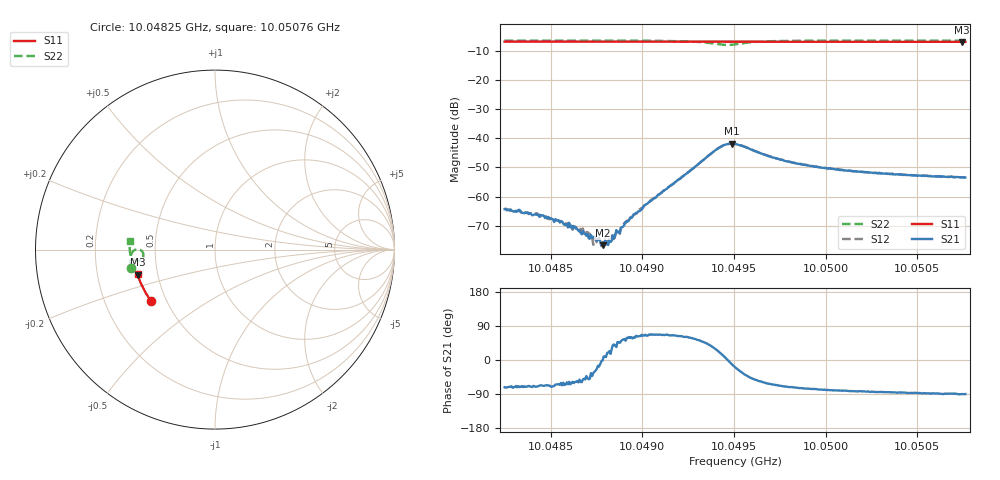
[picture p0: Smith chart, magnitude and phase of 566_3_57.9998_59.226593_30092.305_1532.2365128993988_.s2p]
#  HZ  S  RI  R  50.00
! Rohde & Schwarz Vector Network Analyzer
! Rohde-Schwarz,ZNB20-2Port,1311601062101988,3.16
! Created: UTC 3/21/2024, 1:15:43 AM
! freq[Hz]  re:S11  im:S11  re:S21  im:S21  re:S12  im:S12  re:S22  im:S22
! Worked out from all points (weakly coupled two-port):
!   401 points, 10.04825 GHz to 10.05076 GHz, reference 50 ohm
!   highest |S21| = -41.83 dB at 10.04949 GHz (marker M1); lowest = -76.7 dB at 10.04878 GHz (marker M2)
!   lowest |S11| = -6.9 dB at 10.05074 GHz (marker M3), VSWR 2.65, Z = 19.3 - j6.77 ohm
!   |S11| at or under -10 dB: nowhere
!   |S22| runs from -8.0 to -6.4 dB; largest |S21 - S12| = 0.00059
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1.0048249e10  -0.3569 -0.2848  0.000189 -0.000578  0.000237 -0.000577  -0.4664 -0.1026
1.0048425e10  -0.3638 -0.2755  0.000164 -0.000458  0.000229 -0.000468  -0.4683 -0.09
1.0048456e10  -0.365 -0.2737  0.000183 -0.000442  0.000189 -0.000398  -0.4687 -0.0877
1.0048588e10  -0.3699 -0.2666  0.000173 -0.000288  0.000178 -0.000299  -0.4699 -0.0778
1.004867e10  -0.3728 -0.2621  0.000118 -0.000192  0.000147 -0.000185  -0.4705 -0.0716
1.0048701e10  -0.3739 -0.2604  0.000154 -0.00017  0.0002 -0.000143  -0.4707 -0.0692
1.004872e10  -0.3748 -0.2593  0.00018 -0.000124  0.000158 -0.000104  -0.4707 -0.0677
1.0048764e10  -0.3763 -0.2569  0.000188 -5.8e-05  0.00016 -2e-05  -0.4709 -0.0641
1.0048783e10  -0.3769 -0.2557  0.000146 -3.66e-06  0.000165 2.34e-05  -0.4711 -0.0627
1.0048821e10  -0.3781 -0.2537  0.000169 7.25e-05  0.000176 6.59e-05  -0.4711 -0.0594
1.004884e10  -0.3788 -0.2527  0.000168 0.000138  0.000173 0.000111  -0.4711 -0.0577
1.0048896e10  -0.3809 -0.2495  0.000179 0.000249  0.000182 0.00027  -0.4711 -0.0529
1.0048946e10  -0.3825 -0.2466  0.000245 0.000376  0.000223 0.000402  -0.4711 -0.0481
1.0049091e10  -0.3875 -0.2385  0.000433 0.001  0.000342 0.00103  -0.469 -0.0332
1.0049405e10  -0.3969 -0.2201  0.00577 0.00291  0.00556 0.00329  -0.4159 -0.00182
1.0049487e10  -0.399 -0.2156  0.00797 -0.00145  0.00808 -0.000891  -0.4006 -0.0416
1.0049506e10  -0.3996 -0.2148  0.00756 -0.00261  0.00779 -0.00207  -0.406 -0.051
1.0049732e10  -0.4064 -0.2017  0.00183 -0.00413  0.00205 -0.00401  -0.4642 -0.0432
1.0049926e10  -0.412 -0.1899  0.000771 -0.00324  0.000967 -0.00322  -0.4727 -0.0204
1.0050347e10  -0.4222 -0.1644  0.000218 -0.00245  0.000349 -0.00244  -0.4755 0.0156
1.0050743e10  -0.4301 -0.1397  5.47e-06 -0.00214  0.000118 -0.00215  -0.4739 0.0444
1.0050762e10  -0.4306 -0.1385  5.97e-06 -0.00212  9.06e-05 -0.00213  -0.4738 0.0457
